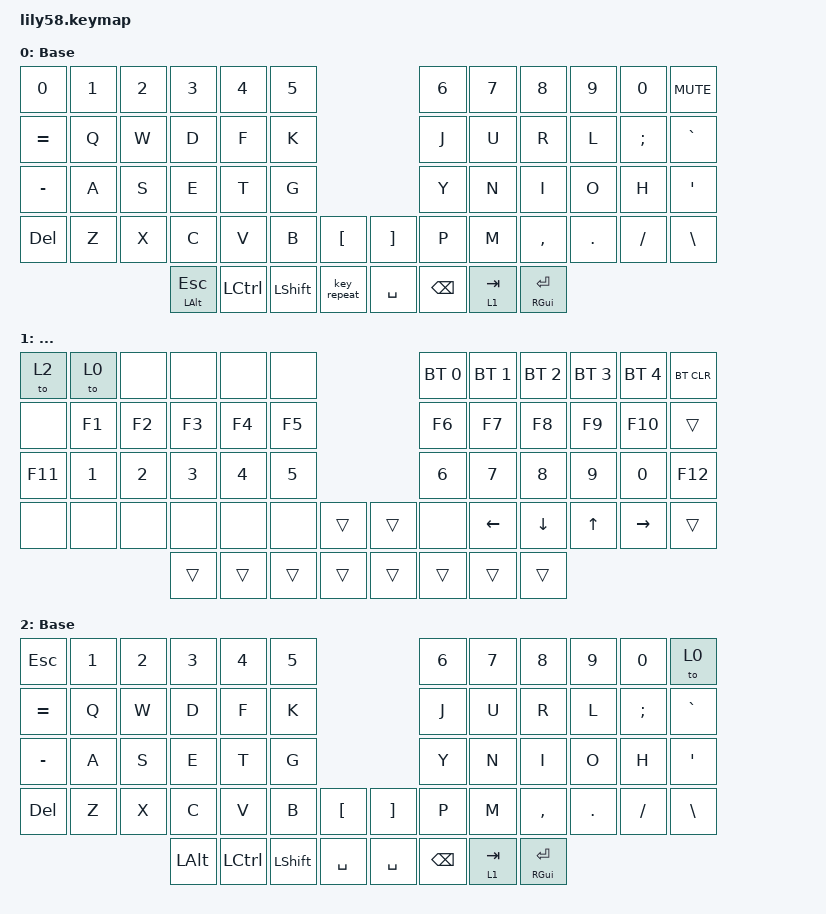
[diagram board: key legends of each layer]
/*
 * Copyright (c) 2020 The ZMK Contributors
 *
 * SPDX-License-Identifier: MIT
 */

#include <behaviors.dtsi>
#include <dt-bindings/zmk/bt.h>
#include <dt-bindings/zmk/keys.h>

/ {
    combos {
        compatible = "zmk,combos";

        comp {
            bindings = <&kp RCTRL>;
            key-positions = <35 24>;
        };
    };

    keymap {
        compatible = "zmk,keymap";

        BASE {
            // ------------------------------------------------------------------------------------------------------------
            // |  ESC  |  1  |  2  |  3   |  4   |  5   |                   |  6   |  7    |  8    |  9   |   0   |   `   |
            // |  TAB  |  Q  |  W  |  E   |  R   |  T   |                   |  Y   |  U    |  I    |  O   |   P   |   -   |
            // |  CTRL |  A  |  S  |  D   |  F   |  G   |                   |  H   |  J    |  K    |  L   |   ;   |   '   |
            // | SHIFT |  Z  |  X  |  C   |  V   |  B   |   "["  |  |  "]"  |  N   |  M    |  ,    |  .   |   /   | SHIFT |
            //                     | ALT  | GUI  | LOWER|  SPACE |  | ENTER | RAISE| BSPC  | GUI   |

            display-name = "Base";
            bindings = <
&kp N0     &kp N1  &kp N2  &kp N3        &kp N4     &kp N5                                             &kp N6         &kp N7     &kp N8          &kp N9   &kp N0     &kp K_MUTE
&kp EQUAL  &kp Q   &kp W   &kp D         &kp F      &kp K                                              &kp J          &kp U      &kp R           &kp L    &kp SEMI   &kp GRAVE
&kp MINUS  &kp A   &kp S   &kp E         &kp T      &kp G                                              &kp Y          &kp N      &kp I           &kp O    &kp H      &kp APOS
&kp DEL    &kp Z   &kp X   &kp C         &kp V      &kp B       &kp LEFT_BRACKET    &kp RIGHT_BRACKET  &kp P          &kp M      &kp COMMA       &kp DOT  &kp SLASH  &kp BSLH
                           &mt LALT ESC  &kp LCTRL  &kp LSHIFT  &key_repeat         &kp SPACE          &kp BACKSPACE  &lt 1 TAB  &mt RGUI ENTER
            >;
        };

        NUM {
            // ------------------------------------------------------------------------------------------------------------
            // |       |     |     |      |      |      |                   |      |       |       |      |       |       |
            // |   `   |  1  |  2  |  3   |  4   |  5   |                   |  6   |   7   |   8   |  9   |   0   |       |
            // |   F1  |  F2 |  F3 |  F4  |  F5  |  F6  |                   |      |   <-  |   v   |  ^   |  ->   |       |
            // |   F7  |  F8 |  F9 |  F10 |  F11 |  F12 |        |  |       |  +   |   -   |   =   |  [   |   ]   |   \   |
            //                     |      |      |      |        |  |       |      |       |       |

            display-name = "...";
            bindings = <
&to 2    &to 0   &none   &none   &none   &none                     &bt BT_SEL 0  &bt BT_SEL 1  &bt BT_SEL 2  &bt BT_SEL 3  &bt BT_SEL 4  &bt BT_CLR
&none    &kp F1  &kp F2  &kp F3  &kp F4  &kp F5                    &kp F6        &kp F7        &kp F8        &kp F9        &kp F10       &trans
&kp F11  &kp N1  &kp N2  &kp N3  &kp N4  &kp N5                    &kp N6        &kp N7        &kp N8        &kp N9        &kp N0        &kp F12
&none    &none   &none   &none   &none   &none   &trans    &trans  &none         &kp LEFT      &kp DOWN      &kp UP        &kp RIGHT     &trans
                         &trans  &trans  &trans  &trans    &trans  &trans        &trans        &trans
            >;
        };

        LSP4C3 {
            display-name = "Base";
            bindings = <
&kp ESC    &kp N1  &kp N2  &kp N3    &kp N4     &kp N5                                             &kp N6         &kp N7     &kp N8          &kp N9   &kp N0     &to 0
&kp EQUAL  &kp Q   &kp W   &kp D     &kp F      &kp K                                              &kp J          &kp U      &kp R           &kp L    &kp SEMI   &kp GRAVE
&kp MINUS  &kp A   &kp S   &kp E     &kp T      &kp G                                              &kp Y          &kp N      &kp I           &kp O    &kp H      &kp APOS
&kp DEL    &kp Z   &kp X   &kp C     &kp V      &kp B       &kp LEFT_BRACKET    &kp RIGHT_BRACKET  &kp P          &kp M      &kp COMMA       &kp DOT  &kp SLASH  &kp BSLH
                           &kp LALT  &kp LCTRL  &kp LSHIFT  &kp SPACE           &kp SPACE          &kp BACKSPACE  &lt 1 TAB  &mt RGUI ENTER
            >;
        };
    };

    conditional_layers {
        compatible = "zmk,conditional-layers";

        double-thumb {
            if-layers = <0 2>;
            then-layer = <2>;
        };
    };
};
